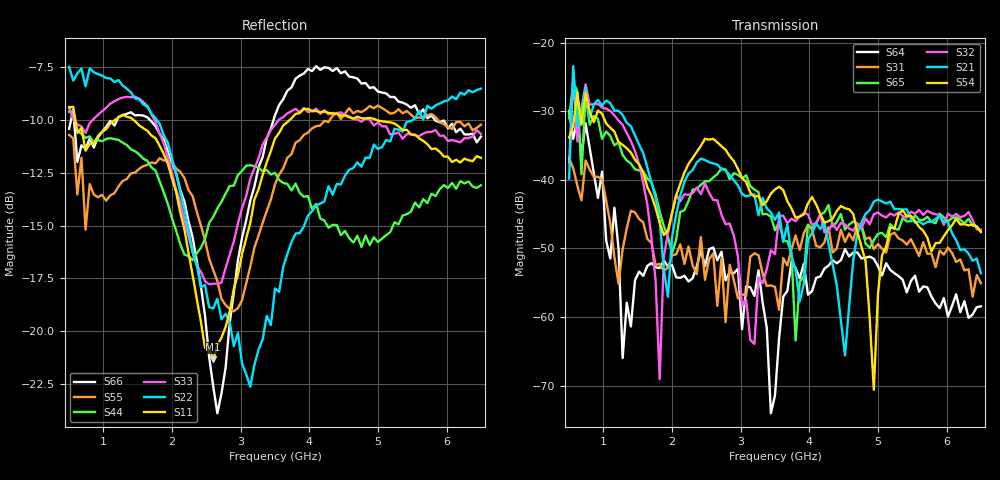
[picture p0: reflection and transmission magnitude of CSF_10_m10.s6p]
!Keysight Technologies,M9804A,MY58100912,A.14.10.03
!Date: Thursday, April 27, 2023 10:28:33
!Correction: S11(C  6-Port  )
!S12(C  6-Port  )
!S13(C  6-Port  )
!S14(C  6-Port  )
!S15(C  6-Port  )
!S16(C  6-Port  )
!S21(C  6-Port  )
!S22(C  6-Port  )
!S23(C  6-Port  )
!S24(C  6-Port  )
!S25(C  6-Port  )
!S26(C  6-Port  )
!S31(C  6-Port  )
!S32(C  6-Port  )
!S33(C  6-Port  )
!S34(C  6-Port  )
!S35(C  6-Port  )
!S36(C  6-Port  )
!S41(C  6-Port  )
!S42(C  6-Port  )
!S43(C  6-Port  )
!S44(C  6-Port  )
!S45(C  6-Port  )
!S46(C  6-Port  )
!S51(C  6-Port  )
!S52(C  6-Port  )
!S53(C  6-Port  )
!S54(C  6-Port  )
!S55(C  6-Port  )
!S56(C  6-Port  )
!S61(C  6-Port  )
!S62(C  6-Port  )
!S63(C  6-Port  )
!S64(C  6-Port  )
!S65(C  6-Port  )
!S66(C  6-Port  )
!S6P File: Measurement: :
# Hz S  RI  R 50
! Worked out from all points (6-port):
!   101 points, 500 MHz to 6.5 GHz, reference 50 ohm
!   strongest paths, dB at 500 MHz, 2 GHz, 3.5 GHz, 5 GHz, 6.5 GHz:
!     S54: -33.8, -44.8, -41.4, -56.7, -47.6
!     S21: -39.8, -48.3, -45.8, -42.9, -53.6
!     S32: -37.5, -45.0, -50.8, -44.8, -47.3
!     S65: -31.0, -50.7, -47.3, -47.9, -47.6
!     S31: -36.9, -51.0, -55.6, -49.3, -55.0
!     S64: -30.0, -52.4, -71.4, -52.6, -58.4
!   lowest |S11| = -21.3 dB at 2.6 GHz (marker M1), VSWR 1.19, Z = 42.4 + j2.23 ohm
!   |S11| at or under -10 dB: 590.1 MHz to 1.167 GHz (577.3 MHz wide, 65.7 % of centre); 1.439 GHz to 3.714 GHz (2.275 GHz wide, 88.3 % of centre); 4.98 GHz to end of sweep
